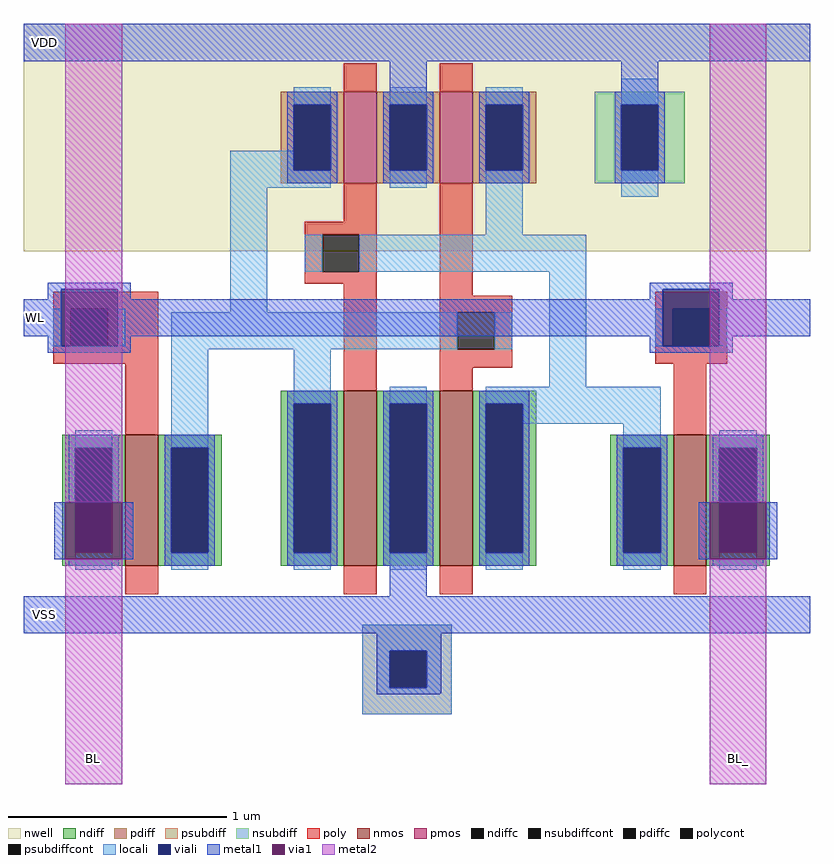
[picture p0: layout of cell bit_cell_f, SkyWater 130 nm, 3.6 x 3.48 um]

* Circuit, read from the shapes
.subckt bit_cell_f BL BL_ VDD VSS WL
XM1 n1 WL BL VSS sky130_fd_pr__nfet_01v8 w=0.6 l=0.15
XM2 VSS n2 n1 VSS sky130_fd_pr__nfet_01v8 w=0.8 l=0.15
XM3 n2 n1 VSS VSS sky130_fd_pr__nfet_01v8 w=0.8 l=0.15
XM4 BL_ WL n2 VSS sky130_fd_pr__nfet_01v8 w=0.6 l=0.15
XM5 VDD n2 n1 VDD sky130_fd_pr__pfet_01v8 w=0.42 l=0.15
XM6 n2 n1 VDD VDD sky130_fd_pr__pfet_01v8 w=0.42 l=0.15
.ends

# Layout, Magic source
magic
tech sky130A
magscale 1 2
<< nwell >>
rect 0 488 720 696
<< nmos >>
rect 93 200 123 320
rect 293 200 323 360
rect 381 200 411 360
rect 595 200 625 320
<< pmos >>
rect 293 550 323 634
rect 381 550 411 634
<< ndiff >>
rect 235 348 293 360
rect 35 308 93 320
rect 35 212 47 308
rect 81 212 93 308
rect 35 200 93 212
rect 123 308 181 320
rect 123 212 135 308
rect 169 212 181 308
rect 123 200 181 212
rect 235 212 247 348
rect 281 212 293 348
rect 235 200 293 212
rect 323 348 381 360
rect 323 212 335 348
rect 369 212 381 348
rect 323 200 381 212
rect 411 348 469 360
rect 411 212 423 348
rect 457 212 469 348
rect 411 200 469 212
rect 537 308 595 320
rect 537 212 549 308
rect 583 212 595 308
rect 537 200 595 212
rect 625 308 683 320
rect 625 212 637 308
rect 671 212 683 308
rect 625 200 683 212
<< pdiff >>
rect 235 622 293 634
rect 235 562 247 622
rect 281 562 293 622
rect 235 550 293 562
rect 323 622 381 634
rect 323 562 335 622
rect 369 562 381 622
rect 323 550 381 562
rect 411 622 469 634
rect 411 562 423 622
rect 457 562 469 622
rect 411 550 469 562
<< ndiffc >>
rect 47 212 81 308
rect 135 212 169 308
rect 247 212 281 348
rect 335 212 369 348
rect 423 212 457 348
rect 549 212 583 308
rect 637 212 671 308
<< pdiffc >>
rect 247 562 281 622
rect 335 562 369 622
rect 423 562 457 622
<< psubdiff >>
rect 310 122 392 146
rect 310 88 335 122
rect 369 88 392 122
rect 310 64 392 88
<< nsubdiff >>
rect 523 622 605 634
rect 523 562 547 622
rect 581 562 605 622
rect 523 550 605 562
<< psubdiffcont >>
rect 335 88 369 122
<< nsubdiffcont >>
rect 547 562 581 622
<< poly >>
rect 293 634 323 660
rect 381 634 411 660
rect 293 515 323 550
rect 257 503 323 515
rect 257 469 273 503
rect 307 469 323 503
rect 257 458 323 469
rect 27 435 123 451
rect 27 401 43 435
rect 77 401 123 435
rect 27 385 123 401
rect 93 320 123 385
rect 293 360 323 458
rect 381 447 411 550
rect 381 432 447 447
rect 381 398 397 432
rect 431 398 447 432
rect 381 381 447 398
rect 578 435 644 451
rect 578 401 594 435
rect 628 401 644 435
rect 578 385 644 401
rect 381 360 411 381
rect 595 320 625 385
rect 93 174 123 200
rect 293 174 323 200
rect 381 174 411 200
rect 595 174 625 200
<< polycont >>
rect 273 469 307 503
rect 43 401 77 435
rect 397 398 431 432
rect 594 401 628 435
<< locali >>
rect 247 622 281 638
rect 189 562 247 580
rect 189 546 281 562
rect 335 622 369 638
rect 335 546 369 562
rect 423 622 457 638
rect 27 401 34 435
rect 86 401 93 435
rect 189 432 223 546
rect 423 503 457 562
rect 547 622 581 646
rect 547 538 581 562
rect 257 469 273 503
rect 307 469 515 503
rect 135 398 397 432
rect 431 398 447 432
rect 47 308 81 324
rect 47 196 81 212
rect 135 308 169 398
rect 135 196 169 212
rect 247 348 281 398
rect 481 364 515 469
rect 578 401 585 435
rect 637 401 644 435
rect 247 196 281 212
rect 335 348 369 364
rect 335 196 369 212
rect 423 348 583 364
rect 457 330 583 348
rect 423 196 457 212
rect 549 308 583 330
rect 549 196 583 212
rect 637 308 671 324
rect 637 196 671 212
rect 310 122 392 146
rect 310 88 335 122
rect 369 88 392 122
rect 310 64 392 88
<< viali >>
rect 247 562 281 622
rect 335 562 369 622
rect 423 562 457 622
rect 34 435 86 453
rect 34 401 43 435
rect 43 401 77 435
rect 77 401 86 435
rect 547 562 581 622
rect 47 212 81 308
rect 135 212 169 308
rect 585 435 637 453
rect 585 401 594 435
rect 594 401 628 435
rect 628 401 637 435
rect 247 212 281 348
rect 335 212 369 348
rect 423 212 457 348
rect 549 212 583 308
rect 637 212 671 308
rect 335 88 369 122
<< metal1 >>
rect 0 662 720 696
rect 335 634 369 662
rect 547 634 581 662
rect 241 622 287 634
rect 241 562 247 622
rect 281 562 287 622
rect 241 550 287 562
rect 329 622 375 634
rect 329 562 335 622
rect 369 562 375 622
rect 329 550 375 562
rect 417 622 463 634
rect 417 562 423 622
rect 457 562 463 622
rect 417 550 463 562
rect 541 622 587 634
rect 541 562 547 622
rect 581 562 587 622
rect 541 550 587 562
rect 22 453 98 459
rect 22 444 34 453
rect 0 410 34 444
rect 22 401 34 410
rect 86 444 98 453
rect 573 453 649 459
rect 573 444 585 453
rect 86 410 585 444
rect 86 401 98 410
rect 22 395 98 401
rect 573 401 585 410
rect 637 444 649 453
rect 637 410 720 444
rect 637 401 649 410
rect 573 395 649 401
rect 241 348 287 360
rect 41 308 87 320
rect 41 258 47 308
rect 81 258 87 308
rect 129 308 175 320
rect 28 206 38 258
rect 90 206 100 258
rect 129 212 135 308
rect 169 212 175 308
rect 41 200 87 206
rect 129 200 175 212
rect 241 212 247 348
rect 281 212 287 348
rect 241 200 287 212
rect 329 348 375 360
rect 329 212 335 348
rect 369 212 375 348
rect 329 200 375 212
rect 417 348 463 360
rect 417 212 423 348
rect 457 212 463 348
rect 417 200 463 212
rect 543 308 589 320
rect 543 212 549 308
rect 583 212 589 308
rect 631 308 677 320
rect 631 258 637 308
rect 671 258 677 308
rect 543 200 589 212
rect 618 206 628 258
rect 680 206 690 258
rect 631 200 677 206
rect 335 172 369 200
rect 0 138 720 172
rect 323 122 382 138
rect 323 88 335 122
rect 369 88 382 122
rect 323 83 382 88
rect 323 82 381 83
<< via1 >>
rect 38 212 47 258
rect 47 212 81 258
rect 81 212 90 258
rect 38 206 90 212
rect 628 212 637 258
rect 637 212 671 258
rect 671 212 680 258
rect 628 206 680 212
<< metal2 >>
rect 38 258 90 696
rect 38 0 90 206
rect 628 258 680 696
rect 628 0 680 206
<< labels >>
rlabel metal2 628 0 680 47 0 BL_
rlabel metal1 0 138 38 172 0 VSS
rlabel metal1 0 410 22 444 0 WL
rlabel metal1 0 662 38 696 0 VDD
rlabel metal2 38 0 90 47 0 BL
<< end >>
